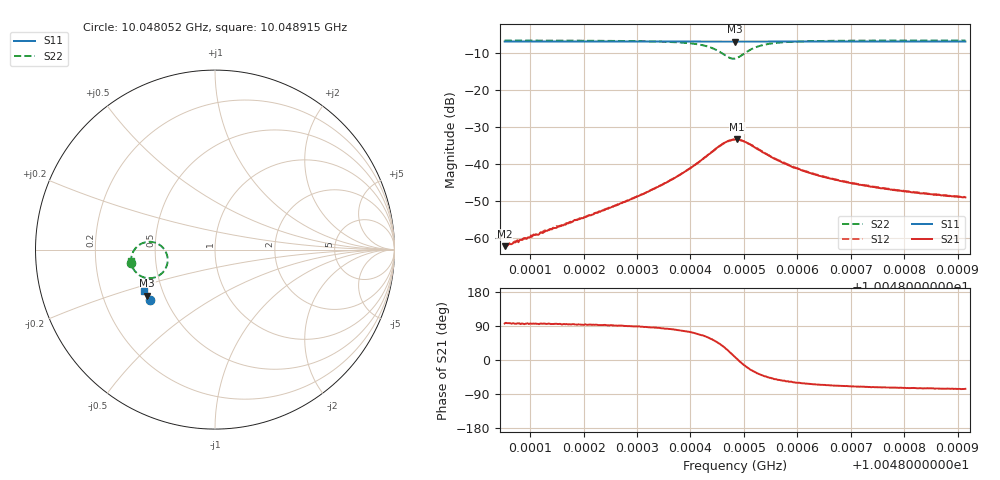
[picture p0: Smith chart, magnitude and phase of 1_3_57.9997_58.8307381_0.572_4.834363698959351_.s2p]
#  HZ  S  RI  R  50.00
! Rohde & Schwarz Vector Network Analyzer
! Rohde-Schwarz,ZNB20-2Port,1311601062101988,3.16
! Created: UTC 3/21/2024, 12:50:16 AM
! freq[Hz]  re:S11  im:S11  re:S21  im:S21  re:S12  im:S12  re:S22  im:S22
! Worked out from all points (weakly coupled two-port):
!   401 points, 10.048052 GHz to 10.048915 GHz, reference 50 ohm
!   highest |S21| = -33.34 dB at 10.048488 GHz (marker M1); lowest = -62.3 dB at 10.048052 GHz (marker M2)
!   lowest |S11| = -6.8 dB at 10.048483 GHz (marker M3), VSWR 2.68, Z = 20.1 - j13 ohm
!   |S11| at or under -10 dB: nowhere
!   |S22| runs from -11.4 to -6.5 dB; largest |S21 - S12| = 0.0019
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1.00480519e10  -0.3641 -0.2805  -8.4e-05 0.00076  -0.000126 0.000764  -0.4674 -0.0747
1.00481965e10  -0.3699 -0.2726  -0.000103 0.00184  -0.000252 0.00183  -0.4675 -0.0551
1.00482827e10  -0.3731 -0.2678  3.71e-05 0.00318  -0.000176 0.00321  -0.4648 -0.0365
1.0048341e10  -0.3751 -0.2643  0.000439 0.00497  0.000188 0.00499  -0.4579 -0.0167
1.0048369e10  -0.3761 -0.2625  0.00106 0.00628  0.000718 0.00636  -0.4505 -0.00299
1.00484079e10  -0.3774 -0.26  0.00319 0.00911  0.00265 0.00927  -0.4261 0.0231
1.00484294e10  -0.378 -0.2586  0.00604 0.0111  0.00532 0.0114  -0.3961 0.0386
1.00484467e10  -0.3781 -0.2574  0.0104 0.0121  0.00947 0.0126  -0.3553 0.0432
1.00484661e10  -0.3781 -0.2565  0.0171 0.00986  0.0163 0.0111  -0.2945 0.0149
1.00484747e10  -0.378 -0.2562  0.0198 0.00678  0.0191 0.00822  -0.2728 -0.0158
1.00484833e10  -0.378 -0.2561  0.0213 0.00279  0.0209 0.0047  -0.2638 -0.0548
1.00484877e10  -0.3782 -0.2562  0.0215 0.000866  0.0212 0.00247  -0.2651 -0.0748
1.00484984e10  -0.3787 -0.2561  0.02 -0.00408  0.0204 -0.00235  -0.2836 -0.1181
1.00485114e10  -0.3793 -0.2557  0.0168 -0.00768  0.0175 -0.00633  -0.3197 -0.1486
1.00485243e10  -0.38 -0.2551  0.0132 -0.00915  0.0141 -0.00814  -0.3551 -0.159
1.00485394e10  -0.381 -0.2546  0.0101 -0.00951  0.011 -0.0089  -0.3864 -0.1573
1.0048589e10  -0.3833 -0.2517  0.00497 -0.00773  0.00547 -0.0077  -0.4361 -0.1312
1.00486279e10  -0.3849 -0.2493  0.00326 -0.00659  0.00371 -0.00647  -0.4504 -0.1144
1.00487012e10  -0.3876 -0.2451  0.00191 -0.00514  0.00227 -0.00508  -0.4618 -0.0931
1.00487724e10  -0.3899 -0.2409  0.00134 -0.00432  0.00162 -0.00428  -0.4665 -0.0795
1.004885e10  -0.3927 -0.2365  0.00103 -0.00374  0.00121 -0.00372  -0.4692 -0.0683
1.00489147e10  -0.3947 -0.2326  0.000842 -0.00341  0.00102 -0.00341  -0.4706 -0.0607
